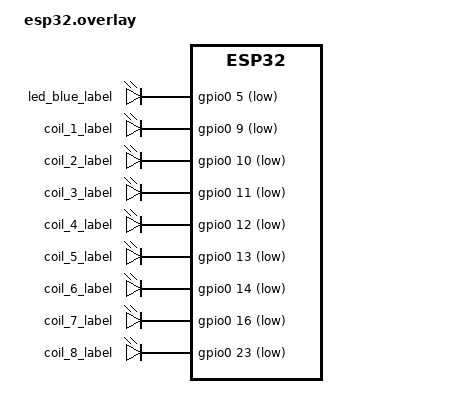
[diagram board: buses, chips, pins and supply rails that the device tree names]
/* ~/zephyrproject/zephyr/boards/xtensa/esp32 */
/* ~/zephyrproject/zephyr/soc/xtensa/esp32/ */
/* ~/zephyrproject/zephyr/dts/xtensa/espressif/esp32.dtsi */
/* ~/zephyrproject/zephyr/include/dt-bindings/gpio/gpio.h */
/* ~/zephyrproject/zephyr/drivers/gpio/gpio_esp32.c */
/* ~/zephyrproject/zephyr/drivers/pinmux/pinmux_esp32.c */
/* ~/zephyrproject/zephyr/dts/bindings/gpio/espressif,esp32-gpio.yaml */

/* dts: https://docs.zephyrproject.org/latest/build/dts/index.html */
/* pinmux: https://docs.opentitan.org/hw/ip/pinmux/doc/ */

/ {

  aliases {
    /*LedBlink*/
    led0 = &led_blue_label;
    /*Motor 1*/
    coil1alias = &coil_1_label; /*No se pueden colocar aliases con "_", solo se permiten caracteres del 0-9 y de la a-z*/
    coil2alias = &coil_2_label;
    coil3alias = &coil_3_label;
    coil4alias = &coil_4_label;

    /*Motor 2*/
    coil5alias = &coil_5_label;
    coil6alias = &coil_6_label;
    coil7alias = &coil_7_label;
    coil8alias = &coil_8_label;

  };

  leds_node {
    /* ~/zephyrproject/zephyr/dts/bindings/gpio/gpio-leds.yaml */
    compatible = "gpio-leds";
    /*Blink para depurar*/
    led_blue_label: led_blue_node {
      gpios = <&gpio0 5 GPIO_ACTIVE_LOW>;
    };
  };
  /* Creando nodo para GPIO específico */
  my_gpio_node {
    /*Motor 1
    Los del proyecto son:
      coil_1_label -> GPIO 9
      coil_2_label -> GPIO 10
      coil_3_label -> GPIO 11
      coil_4_label -> GPIO 12
    */
    compatible = "gpio-leds";
    coil_1_label: COIL1_NODE {
      gpios = <&gpio0 9 GPIO_ACTIVE_LOW>; // <-- este pin tiene problema prueba por ejemplo el 2
    }; /*Nos faltaban ; al finalizar las } jaja*/
    coil_2_label: COIL2_NODE {
      gpios = <&gpio0 10 GPIO_ACTIVE_LOW>; // <-- este pin tiene problema
    };
    coil_3_label: COIL3_NODE {
      gpios = <&gpio0 11 GPIO_ACTIVE_LOW>; // <-- este pin tiene problema prueba por ejemplo el 4
    };
    coil_4_label: COIL4_NODE {
      gpios = <&gpio0 12 GPIO_ACTIVE_LOW>;
    };

  /*Motor 2
  Los del proyecto son:
      coil_5_label -> GPIO 13
      coil_6_label -> GPIO 14
      coil_7_label -> GPIO 16
      coil_8_label -> GPIO 23
  */
  coil_5_label: COIL5_NODE {
      gpios = <&gpio0 13 GPIO_ACTIVE_LOW>;
    };
    coil_6_label: COIL6_NODE {
      gpios = <&gpio0 14 GPIO_ACTIVE_LOW>;
    };
    coil_7_label: COIL7_NODE {
      gpios = <&gpio0 16 GPIO_ACTIVE_LOW>;
    };
    coil_8_label: COIL8_NODE {
      gpios = <&gpio0 23 GPIO_ACTIVE_LOW>;
    };
  };
};
